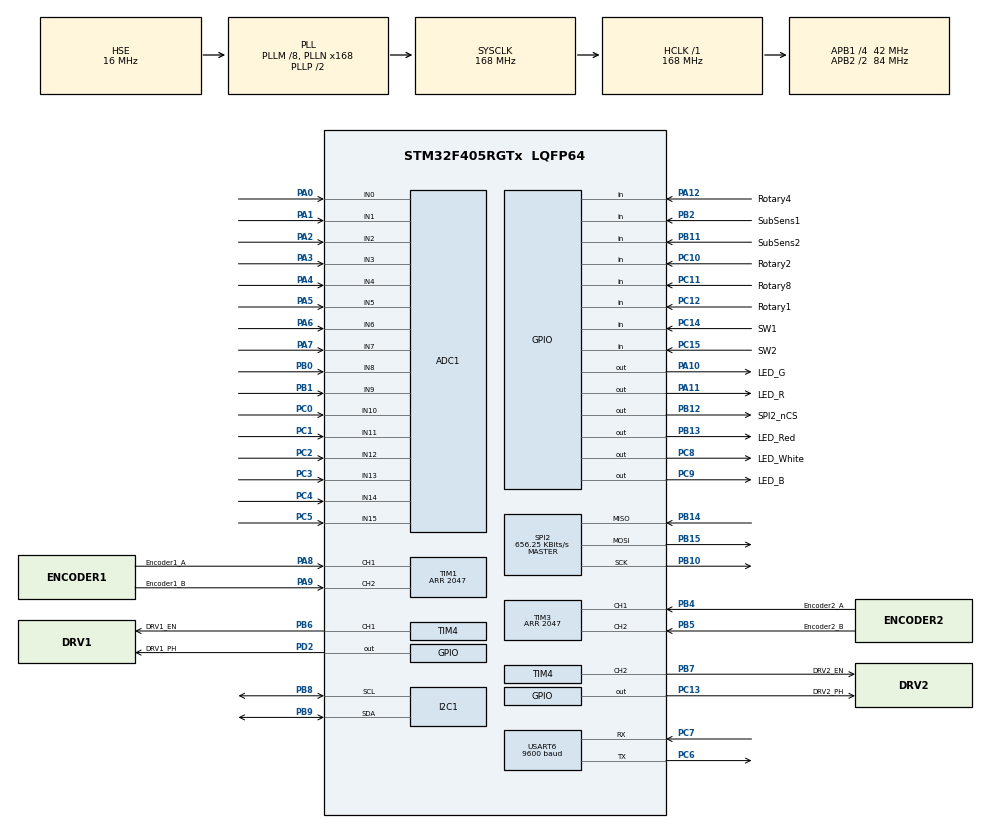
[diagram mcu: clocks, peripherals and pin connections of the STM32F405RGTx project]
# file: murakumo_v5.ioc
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ADC1.Channel-0\#ChannelRegularConversion=ADC_CHANNEL_9
ADC1.Channel-1\#ChannelRegularConversion=ADC_CHANNEL_10
ADC1.Channel-10\#ChannelRegularConversion=ADC_CHANNEL_6
ADC1.Channel-11\#ChannelRegularConversion=ADC_CHANNEL_1
ADC1.Channel-12\#ChannelRegularConversion=ADC_CHANNEL_5
ADC1.Channel-13\#ChannelRegularConversion=ADC_CHANNEL_2
ADC1.Channel-14\#ChannelRegularConversion=ADC_CHANNEL_4
ADC1.Channel-15\#ChannelRegularConversion=ADC_CHANNEL_3
ADC1.Channel-2\#ChannelRegularConversion=ADC_CHANNEL_8
ADC1.Channel-3\#ChannelRegularConversion=ADC_CHANNEL_11
ADC1.Channel-4\#ChannelRegularConversion=ADC_CHANNEL_15
ADC1.Channel-5\#ChannelRegularConversion=ADC_CHANNEL_12
ADC1.Channel-6\#ChannelRegularConversion=ADC_CHANNEL_14
ADC1.Channel-7\#ChannelRegularConversion=ADC_CHANNEL_13
ADC1.Channel-8\#ChannelRegularConversion=ADC_CHANNEL_7
ADC1.Channel-9\#ChannelRegularConversion=ADC_CHANNEL_0
ADC1.ContinuousConvMode=ENABLE
ADC1.DMAContinuousRequests=ENABLE
ADC1.InjNumberOfConversion=0
ADC1.NbrOfConversion=16
ADC1.NbrOfConversionFlag=1
ADC1.Rank-0\#ChannelRegularConversion=1
ADC1.Rank-1\#ChannelRegularConversion=2
ADC1.Rank-10\#ChannelRegularConversion=11
ADC1.Rank-11\#ChannelRegularConversion=12
ADC1.Rank-12\#ChannelRegularConversion=13
ADC1.Rank-13\#ChannelRegularConversion=14
ADC1.Rank-14\#ChannelRegularConversion=15
ADC1.Rank-15\#ChannelRegularConversion=16
ADC1.Rank-2\#ChannelRegularConversion=3
ADC1.Rank-3\#ChannelRegularConversion=4
ADC1.Rank-4\#ChannelRegularConversion=5
ADC1.Rank-5\#ChannelRegularConversion=6
ADC1.Rank-6\#ChannelRegularConversion=7
ADC1.Rank-7\#ChannelRegularConversion=8
ADC1.Rank-8\#ChannelRegularConversion=9
ADC1.Rank-9\#ChannelRegularConversion=10
ADC1.SamplingTime-0\#ChannelRegularConversion=ADC_SAMPLETIME_56CYCLES
ADC1.SamplingTime-1\#ChannelRegularConversion=ADC_SAMPLETIME_56CYCLES
ADC1.SamplingTime-10\#ChannelRegularConversion=ADC_SAMPLETIME_56CYCLES
ADC1.SamplingTime-11\#ChannelRegularConversion=ADC_SAMPLETIME_56CYCLES
ADC1.SamplingTime-12\#ChannelRegularConversion=ADC_SAMPLETIME_56CYCLES
ADC1.SamplingTime-13\#ChannelRegularConversion=ADC_SAMPLETIME_56CYCLES
ADC1.SamplingTime-14\#ChannelRegularConversion=ADC_SAMPLETIME_56CYCLES
ADC1.SamplingTime-15\#ChannelRegularConversion=ADC_SAMPLETIME_56CYCLES
ADC1.SamplingTime-2\#ChannelRegularConversion=ADC_SAMPLETIME_56CYCLES
ADC1.SamplingTime-3\#ChannelRegularConversion=ADC_SAMPLETIME_56CYCLES
ADC1.SamplingTime-4\#ChannelRegularConversion=ADC_SAMPLETIME_56CYCLES
ADC1.SamplingTime-5\#ChannelRegularConversion=ADC_SAMPLETIME_56CYCLES
ADC1.SamplingTime-6\#ChannelRegularConversion=ADC_SAMPLETIME_56CYCLES
ADC1.SamplingTime-7\#ChannelRegularConversion=ADC_SAMPLETIME_56CYCLES
ADC1.SamplingTime-8\#ChannelRegularConversion=ADC_SAMPLETIME_56CYCLES
ADC1.SamplingTime-9\#ChannelRegularConversion=ADC_SAMPLETIME_56CYCLES
ADC1.ScanConvMode=ENABLE
ADC1.master=1
Dma.ADC1.0.Direction=DMA_PERIPH_TO_MEMORY
Dma.ADC1.0.FIFOMode=DMA_FIFOMODE_DISABLE
Dma.ADC1.0.Instance=DMA2_Stream0
Dma.ADC1.0.MemDataAlignment=DMA_MDATAALIGN_HALFWORD
Dma.ADC1.0.MemInc=DMA_MINC_ENABLE
Dma.ADC1.0.Mode=DMA_CIRCULAR
Dma.ADC1.0.PeriphDataAlignment=DMA_PDATAALIGN_HALFWORD
Dma.ADC1.0.PeriphInc=DMA_PINC_DISABLE
Dma.ADC1.0.Priority=DMA_PRIORITY_LOW
Dma.Request0=ADC1
I2C1.NoStretchMode=I2C_NOSTRETCH_ENABLE
Mcu.Family=STM32F4
Mcu.Name=STM32F405RGTx
Mcu.Package=LQFP64
NVIC.DMA2_Stream0_IRQn=true\:0\:0\:true\:false\:true\:false\:true
NVIC.PriorityGroup=NVIC_PRIORITYGROUP_4
NVIC.TIM1_TRG_COM_TIM11_IRQn=true\:0\:0\:true\:false\:true\:true\:true
NVIC.TIM1_UP_TIM10_IRQn=true\:0\:0\:true\:false\:true\:true\:true
NVIC.TIM6_DAC_IRQn=true\:0\:0\:true\:false\:true\:true\:true
PA0-WKUP.Signal=ADCx_IN0
PA1.Signal=ADCx_IN1
PA10.GPIO_Label=LED_G
PA10.Signal=GPIO_Output
PA11.GPIO_Label=LED_R
PA11.Signal=GPIO_Output
PA12.GPIO_Label=Rotary4
PA12.Signal=GPIO_Input
PA13.Mode=Trace_Asynchronous_SW
PA13.Signal=SYS_JTMS-SWDIO
PA14.Mode=Trace_Asynchronous_SW
PA14.Signal=SYS_JTCK-SWCLK
PA15.Signal=S_TIM2_CH1_ETR
PA2.Signal=ADCx_IN2
PA3.Signal=ADCx_IN3
PA4.Signal=ADCx_IN4
PA5.Signal=ADCx_IN5
PA6.Signal=ADCx_IN6
PA7.Signal=ADCx_IN7
PA8.GPIO_Label=Encoder1_A
PA8.Signal=S_TIM1_CH1
PA9.GPIO_Label=Encoder1_B
PA9.Signal=S_TIM1_CH2
PB0.Signal=ADCx_IN8
PB1.Signal=ADCx_IN9
PB10.Mode=Full_Duplex_Master
PB10.Signal=SPI2_SCK
PB11.GPIO_Label=SubSens2
PB11.Signal=GPIO_Input
PB12.GPIO_Label=SPI2_nCS
PB12.Signal=GPIO_Output
PB13.GPIO_Label=LED_Red
PB13.Signal=GPIO_Output
PB14.Mode=Full_Duplex_Master
PB14.Signal=SPI2_MISO
PB15.Mode=Full_Duplex_Master
PB15.Signal=SPI2_MOSI
PB2.GPIO_Label=SubSens1
PB2.Signal=GPIO_Input
PB3.Mode=Trace_Asynchronous_SW
PB3.Signal=SYS_JTDO-SWO
PB4.GPIO_Label=Encoder2_A
PB4.Signal=S_TIM3_CH1
PB5.GPIO_Label=Encoder2_B
PB5.Signal=S_TIM3_CH2
PB6.GPIO_Label=DRV1_EN
PB6.Signal=S_TIM4_CH1
PB7.GPIO_Label=DRV2_EN
PB7.Signal=S_TIM4_CH2
PB8.Mode=I2C
PB8.Signal=I2C1_SCL
PB9.Mode=I2C
PB9.Signal=I2C1_SDA
PC0.Signal=ADCx_IN10
PC1.Signal=ADCx_IN11
PC10.GPIO_Label=Rotary2
PC10.Signal=GPIO_Input
PC11.GPIO_Label=Rotary8
PC11.Signal=GPIO_Input
PC12.GPIO_Label=Rotary1
PC12.Signal=GPIO_Input
PC13-ANTI_TAMP.GPIO_Label=DRV2_PH
PC13-ANTI_TAMP.Signal=GPIO_Output
PC14-OSC32_IN.GPIO_Label=SW1
PC14-OSC32_IN.Signal=GPIO_Input
PC15-OSC32_OUT.GPIO_Label=SW2
PC15-OSC32_OUT.Signal=GPIO_Input
PC2.Signal=ADCx_IN12
PC3.Signal=ADCx_IN13
PC4.Signal=ADCx_IN14
PC5.Signal=ADCx_IN15
PC6.Mode=Asynchronous
PC6.Signal=USART6_TX
PC7.Mode=Asynchronous
PC7.Signal=USART6_RX
PC8.GPIO_Label=LED_White
PC8.Signal=GPIO_Output
PC9.GPIO_Label=LED_B
PC9.Signal=GPIO_Output
PD2.GPIO_Label=DRV1_PH
PD2.Signal=GPIO_Output
PH0-OSC_IN.Mode=HSE-External-Clock-Source
PH0-OSC_IN.Signal=RCC_OSC_IN
PH1-OSC_OUT.Mode=HSE-External-Clock-Source
PH1-OSC_OUT.Signal=RCC_OSC_OUT
ProjectManager.HeapSize=0x200
ProjectManager.StackSize=0x400
ProjectManager.TargetToolchain=STM32CubeIDE
RCC.48MHZClocksFreq_Value=84000000
RCC.AHBFreq_Value=168000000
RCC.APB1CLKDivider=RCC_HCLK_DIV4
RCC.APB1Freq_Value=42000000
RCC.APB1TimFreq_Value=84000000
RCC.APB2CLKDivider=RCC_HCLK_DIV2
RCC.APB2Freq_Value=84000000
RCC.APB2TimFreq_Value=168000000
RCC.CortexFreq_Value=168000000
RCC.HCLKFreq_Value=168000000
RCC.HSE_VALUE=16000000
RCC.HSI_VALUE=16000000
RCC.LSE_VALUE=32768
RCC.PLLM=8
RCC.PLLN=168
RCC.PLLSourceVirtual=RCC_PLLSOURCE_HSE
RCC.SYSCLKFreq_VALUE=168000000
RCC.SYSCLKSource=RCC_SYSCLKSOURCE_PLLCLK
RCC.VCOOutputFreq_Value=336000000
SH.ADCx_IN0.0=ADC1_IN0,IN0
SH.ADCx_IN1.0=ADC1_IN1,IN1
SH.ADCx_IN10.0=ADC1_IN10,IN10
SH.ADCx_IN11.0=ADC1_IN11,IN11
SH.ADCx_IN12.0=ADC1_IN12,IN12
SH.ADCx_IN13.0=ADC1_IN13,IN13
SH.ADCx_IN14.0=ADC1_IN14,IN14
SH.ADCx_IN15.0=ADC1_IN15,IN15
SH.ADCx_IN2.0=ADC1_IN2,IN2
SH.ADCx_IN3.0=ADC1_IN3,IN3
SH.ADCx_IN4.0=ADC1_IN4,IN4
SH.ADCx_IN5.0=ADC1_IN5,IN5
SH.ADCx_IN6.0=ADC1_IN6,IN6
SH.ADCx_IN7.0=ADC1_IN7,IN7
SH.ADCx_IN8.0=ADC1_IN8,IN8
SH.ADCx_IN9.0=ADC1_IN9,IN9
SH.S_TIM1_CH1.0=TIM1_CH1,Encoder_Interface
SH.S_TIM1_CH2.0=TIM1_CH2,Encoder_Interface
SH.S_TIM2_CH1_ETR.0=TIM2_CH1
SH.S_TIM3_CH1.0=TIM3_CH1,Encoder_Interface
SH.S_TIM3_CH2.0=TIM3_CH2,Encoder_Interface
SH.S_TIM4_CH1.0=TIM4_CH1,PWM Generation1 CH1
SH.S_TIM4_CH2.0=TIM4_CH2,PWM Generation2 CH2
SPI2.BaudRatePrescaler=SPI_BAUDRATEPRESCALER_64
SPI2.CLKPhase=SPI_PHASE_2EDGE
SPI2.CLKPolarity=SPI_POLARITY_HIGH
SPI2.CalculateBaudRate=656.25 KBits/s
SPI2.DataSize=SPI_DATASIZE_8BIT
SPI2.Direction=SPI_DIRECTION_2LINES
SPI2.Mode=SPI_MODE_MASTER
SPI2.VirtualType=VM_MASTER
TIM1.EncoderMode=TIM_ENCODERMODE_TI12
TIM1.Period=2047
TIM10.Period=33599
TIM10.Prescaler=4
TIM11.Period=33599
TIM11.Prescaler=4
TIM14.Period=33599
TIM14.Prescaler=4
TIM3.EncoderMode=TIM_ENCODERMODE_TI12
TIM3.Period=2047
TIM4.Channel-PWM\ Generation1\ CH1=TIM_CHANNEL_1
TIM4.Channel-PWM\ Generation2\ CH2=TIM_CHANNEL_2
TIM4.Period=999
TIM4.Prescaler=2
TIM6.Period=16799
TIM6.Prescaler=4
USART6.BaudRate=9600
USART6.VirtualMode=VM_ASYNC
VP_TIM10_VS_ClockSourceINT.Mode=Enable_Timer
VP_TIM11_VS_ClockSourceINT.Mode=Enable_Timer
VP_TIM14_VS_ClockSourceINT.Mode=Enable_Timer
VP_TIM6_VS_ClockSourceINT.Mode=Enable_Timer
board=custom

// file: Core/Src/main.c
/* USER CODE BEGIN Header */
/**
 ******************************************************************************
 * @file           : main.c
 * @brief          : Main program body
 ******************************************************************************
 * @attention
 *
 * <h2><center>&copy; Copyright (c) 2022 STMicroelectronics.
 * All rights reserved.</center></h2>
 *
 * This software component is licensed by ST under BSD 3-Clause license,
 * the "License"; You may not use this file except in compliance with the
 * License. You may obtain a copy of the License at:
 *                        opensource.org/licenses/BSD-3-Clause
 *
 *
 * 8b    d8 88   88 88""Yb    db    88  dP 88   88 8b    d8  dP"Yb             Yb    dP 888888 *
 * 88b  d88 88   88 88__dP   dPYb   88odP  88   88 88b  d88 dP   Yb             Yb  dP  88oo." *
 * 88YbdP88 Y8   8P 88"Yb   dP__Yb  88"Yb  Y8   8P 88YbdP88 Yb   dP              YbdP      `8b *
 * 88 YY 88 `YbodP' 88  Yb dP""""Yb 88  Yb `YbodP' 88 YY 88  YbodP  oooooooooo    YP    8888P' *
 *
 ********************************************dsd**********************************
 */
/* USER CODE END Header */
#include "main.h"

ADC_HandleTypeDef hadc1;
DMA_HandleTypeDef hdma_adc1;

I2C_HandleTypeDef hi2c1;

SPI_HandleTypeDef hspi2;

TIM_HandleTypeDef htim1;
TIM_HandleTypeDef htim3;
TIM_HandleTypeDef htim4;
TIM_HandleTypeDef htim6;
TIM_HandleTypeDef htim10;
TIM_HandleTypeDef htim11;
TIM_HandleTypeDef htim14;

UART_HandleTypeDef huart6;

void SystemClock_Config(void);
static void MX_GPIO_Init(void);
static void MX_DMA_Init(void);
static void MX_ADC1_Init(void);
static void MX_USART6_UART_Init(void);
static void MX_TIM6_Init(void);
static void MX_TIM4_Init(void);
static void MX_TIM1_Init(void);
static void MX_TIM3_Init(void);
static void MX_TIM10_Init(void);
static void MX_TIM11_Init(void);
static void MX_SPI2_Init(void);
static void MX_I2C1_Init(void);
static void MX_TIM14_Init(void);
/* USER CODE BEGIN PFP */

void HAL_TIM_PeriodElapsedCallback(TIM_HandleTypeDef *htim)
{
	if(htim->Instance == TIM6)
  {
    tim6_main();
	}

	if(htim->Instance == TIM10)	// TIM10 // 1ms
	{
    tim10_main();
	}

	if (htim->Instance == TIM11)	// TIM11 // 1ms
	{
    tim11_main();
	}
}

/* USER CODE END PFP */

int main(void)
{

  /* MCU Configuration--------------------------------------------------------*/

  /* Reset of all peripherals, Initializes the Flash interface and the Systick. */
  HAL_Init();

  /* Configure the system clock */
  SystemClock_Config();

  /* Initialize all configured peripherals */
  MX_GPIO_Init();
  MX_DMA_Init();
  MX_ADC1_Init();
  MX_USART6_UART_Init();
  MX_TIM6_Init();
  MX_TIM4_Init();
  MX_TIM1_Init();
  MX_TIM3_Init();
  MX_TIM10_Init();
  MX_TIM11_Init();
  MX_SPI2_Init();
  MX_I2C1_Init();
  MX_TIM14_Init();
  /* USER CODE BEGIN 2 */
	printf(ESC_DEF);

	printf("\r\n\r\n\r\nStarting Program...\r\n\r\n");

  main_init();

  /* USER CODE END 2 */

  /* Infinite loop */
  /* USER CODE BEGIN WHILE */
#if !D_LED
	while (1)
	{
    print_while();

		if(switch_read_enter())
		{
			switch(rotary_read())
      {
        case 0x00:
          if(rotary_read_playmode() == calibration)
          {
            /* min = 4096, max = 0, sensgettime = 0, HAL_ADC_Start_DMA() */
            analog_calibration_start();

            while(switch_read_enter())
            {
              #if ANALOG_CALIBRATION_IN_WHILE
              analog_get_and_sort();
              #endif
              // d_print();
              HAL_Delay(100);
            }

            /* analogmode = all, */
            analog_calibration_stop();
          }
          else    // if(!(rotary_read_playmode()== calibration))
          {
            running_start();

            while(switch_read_enter())
            {
              d_print();
              HAL_Delay(250);
            }

            running_stop();
          }
          break;	// case 0x00:
        case 0x01:	// 1
          running_start();

          while (switch_read_enter())
          {
            d_print();
            HAL_Delay(500);
          }

          running_stop();
          break;
        case 0x02:	// 2
          running_start();

          while(switch_read_enter())
          {
            d_print();
            HAL_Delay(250);
          }

          running_stop();
          break;
        case 0x03:	// 3
          running_start();

          while(switch_read_enter())
          {
            d_print();
            HAL_Delay(250);
          }

          running_stop();
          break;
        case 0x04:	// 4
          running_start();

          while(switch_read_enter())
          {
            d_print();
            HAL_Delay(250);
          }

          running_stop();
          break;
        case 0x05:	// 5
          running_start();

          while(switch_read_enter())
          {
            d_print();
            HAL_Delay(250);
          }

          running_stop();
          break;
        case 0x06:	// 6
          running_start();

          while(switch_read_enter())
          {
            d_print();
            HAL_Delay(250);
          }

          running_stop();
          break;
        case 0x07:	// 7
          running_start();

          while(switch_read_enter())
          {
            d_print();
            HAL_Delay(250);
          }

          running_stop();
          break;
        case 0x08:	// 8
          running_start();

          while(switch_read_enter())
          {
            d_print();
            HAL_Delay(250);
          }

          running_stop();
          break;
        case 0x09:	// 9
          running_start();

          while(switch_read_enter())
          {
            d_print();
            HAL_Delay(250);
          }

          running_stop();
          break;
        case 0x0A:	// A
          running_start();

          while(switch_read_enter())
          {
            d_print();
            HAL_Delay(250);
          }

          running_stop();
          break;
        case 0x0B:	// B
          running_start();

          while(switch_read_enter())
          {
            d_print();
            HAL_Delay(250);
          }

          running_stop();
          break;
        case 0x0C:	// C
          running_start();

          while(switch_read_enter())
          {
            d_print();
            HAL_Delay(250);
          }

          running_stop();
          break;
        case 0x0D:	// D
          running_start();

          while(switch_read_enter())
          {
            d_print();
            HAL_Delay(250);
          }

          running_stop();
          break;
        case 0x0E:	// E
          running_start();

          while(switch_read_enter())
          {
            d_print();
            HAL_Delay(250);
          }

          running_stop();
          break;
        case 0x0F:
          if(rotary_read_playmode()== flash_print)
          {
          }
          else    // if(!(rotary_read_playmode()== flash_print))
          {
            running_start();

            while(switch_read_enter())
            {
              d_print();
              HAL_Delay(250);
            }

            running_stop();
          }
          break;
        default:
          break;
      } // switch(rotary_value)
		}	// if(switch_read_enter())
    HAL_Delay(500);
	}	// while(1)
#endif	// !D_LED
    /* USER CODE END WHILE */

}

void SystemClock_Config(void)
{
  RCC_OscInitTypeDef RCC_OscInitStruct = {0};
  RCC_ClkInitTypeDef RCC_ClkInitStruct = {0};

  /** Configure the main internal regulator output voltage
  */
  __HAL_RCC_PWR_CLK_ENABLE();
  __HAL_PWR_VOLTAGESCALING_CONFIG(PWR_REGULATOR_VOLTAGE_SCALE1);
  /** Initializes the RCC Oscillators according to the specified parameters
  * in the RCC_OscInitTypeDef structure.
  */
  RCC_OscInitStruct.OscillatorType = RCC_OSCILLATORTYPE_HSE;
  RCC_OscInitStruct.HSEState = RCC_HSE_BYPASS;
  RCC_OscInitStruct.PLL.PLLState = RCC_PLL_ON;
  RCC_OscInitStruct.PLL.PLLSource = RCC_PLLSOURCE_HSE;
  RCC_OscInitStruct.PLL.PLLM = 8;
  RCC_OscInitStruct.PLL.PLLN = 168;
  RCC_OscInitStruct.PLL.PLLP = RCC_PLLP_DIV2;
  RCC_OscInitStruct.PLL.PLLQ = 4;
  if (HAL_RCC_OscConfig(&RCC_OscInitStruct) != HAL_OK)
  {
    Error_Handler();
  }
  /** Initializes the CPU, AHB and APB buses clocks
  */
  RCC_ClkInitStruct.ClockType = RCC_CLOCKTYPE_HCLK|RCC_CLOCKTYPE_SYSCLK
                              |RCC_CLOCKTYPE_PCLK1|RCC_CLOCKTYPE_PCLK2;
  RCC_ClkInitStruct.SYSCLKSource = RCC_SYSCLKSOURCE_PLLCLK;
  RCC_ClkInitStruct.AHBCLKDivider = RCC_SYSCLK_DIV1;
  RCC_ClkInitStruct.APB1CLKDivider = RCC_HCLK_DIV4;
  RCC_ClkInitStruct.APB2CLKDivider = RCC_HCLK_DIV2;

  if (HAL_RCC_ClockConfig(&RCC_ClkInitStruct, FLASH_LATENCY_5) != HAL_OK)
  {
    Error_Handler();
  }
}

static void MX_ADC1_Init(void)
{

  ADC_ChannelConfTypeDef sConfig = {0};

  /** Configure the global features of the ADC (Clock, Resolution, Data Alignment and number of conversion)
  */
  hadc1.Instance = ADC1;
  hadc1.Init.ClockPrescaler = ADC_CLOCK_SYNC_PCLK_DIV4;
  hadc1.Init.Resolution = ADC_RESOLUTION_12B;
  hadc1.Init.ScanConvMode = ENABLE;
  hadc1.Init.ContinuousConvMode = ENABLE;
  hadc1.Init.DiscontinuousConvMode = DISABLE;
  hadc1.Init.ExternalTrigConvEdge = ADC_EXTERNALTRIGCONVEDGE_NONE;
  hadc1.Init.ExternalTrigConv = ADC_SOFTWARE_START;
  hadc1.Init.DataAlign = ADC_DATAALIGN_RIGHT;
  hadc1.Init.NbrOfConversion = 16;
  hadc1.Init.DMAContinuousRequests = ENABLE;
  hadc1.Init.EOCSelection = ADC_EOC_SINGLE_CONV;
  if (HAL_ADC_Init(&hadc1) != HAL_OK)
  {
    Error_Handler();
  }
  /** Configure for the selected ADC regular channel its corresponding rank in the sequencer and its sample time.
  */
  sConfig.Channel = ADC_CHANNEL_9;
  sConfig.Rank = 1;
  sConfig.SamplingTime = ADC_SAMPLETIME_56CYCLES;
  if (HAL_ADC_ConfigChannel(&hadc1, &sConfig) != HAL_OK)
  {
    Error_Handler();
  }
  /** Configure for the selected ADC regular channel its corresponding rank in the sequencer and its sample time.
  */
  sConfig.Channel = ADC_CHANNEL_10;
  sConfig.Rank = 2;
  if (HAL_ADC_ConfigChannel(&hadc1, &sConfig) != HAL_OK)
  {
    Error_Handler();
  }
  /** Configure for the selected ADC regular channel its corresponding rank in the sequencer and its sample time.
  */
  sConfig.Channel = ADC_CHANNEL_8;
  sConfig.Rank = 3;
  if (HAL_ADC_ConfigChannel(&hadc1, &sConfig) != HAL_OK)
  {
    Error_Handler();
  }
  /** Configure for the selected ADC regular channel its corresponding rank in the sequencer and its sample time.
  */
  sConfig.Channel = ADC_CHANNEL_11;
  sConfig.Rank = 4;
  if (HAL_ADC_ConfigChannel(&hadc1, &sConfig) != HAL_OK)
  {
    Error_Handler();
  }
  /** Configure for the selected ADC regular channel its corresponding rank in the sequencer and its sample time.
  */
  sConfig.Channel = ADC_CHANNEL_15;
  sConfig.Rank = 5;
  if (HAL_ADC_ConfigChannel(&hadc1, &sConfig) != HAL_OK)
  {
    Error_Handler();
  }
  /** Configure for the selected ADC regular channel its corresponding rank in the sequencer and its sample time.
  */
  sConfig.Channel = ADC_CHANNEL_12;
  sConfig.Rank = 6;
  if (HAL_ADC_ConfigChannel(&hadc1, &sConfig) != HAL_OK)
  {
    Error_Handler();
  }
  /** Configure for the selected ADC regular channel its corresponding rank in the sequencer and its sample time.
  */
  sConfig.Channel = ADC_CHANNEL_14;
  sConfig.Rank = 7;
  if (HAL_ADC_ConfigChannel(&hadc1, &sConfig) != HAL_OK)
  {
    Error_Handler();
  }
  /** Configure for the selected ADC regular channel its corresponding rank in the sequencer and its sample time.
  */
  sConfig.Channel = ADC_CHANNEL_13;
  sConfig.Rank = 8;
  if (HAL_ADC_ConfigChannel(&hadc1, &sConfig) != HAL_OK)
  {
    Error_Handler();
  }
  /** Configure for the selected ADC regular channel its corresponding rank in the sequencer and its sample time.
  */
  sConfig.Channel = ADC_CHANNEL_7;
  sConfig.Rank = 9;
  if (HAL_ADC_ConfigChannel(&hadc1, &sConfig) != HAL_OK)
  {
    Error_Handler();
  }
  /** Configure for the selected ADC regular channel its corresponding rank in the sequencer and its sample time.
  */
  sConfig.Channel = ADC_CHANNEL_0;
  sConfig.Rank = 10;
  if (HAL_ADC_ConfigChannel(&hadc1, &sConfig) != HAL_OK)
  {
    Error_Handler();
  }
  /** Configure for the selected ADC regular channel its corresponding rank in the sequencer and its sample time.
  */
  sConfig.Channel = ADC_CHANNEL_6;
  sConfig.Rank = 11;
  if (HAL_ADC_ConfigChannel(&hadc1, &sConfig) != HAL_OK)
  {
    Error_Handler();
  }
  /** Configure for the selected ADC regular channel its corresponding rank in the sequencer and its sample time.
  */
  sConfig.Channel = ADC_CHANNEL_1;
  sConfig.Rank = 12;
  if (HAL_ADC_ConfigChannel(&hadc1, &sConfig) != HAL_OK)
  {
    Error_Handler();
  }
  /** Configure for the selected ADC regular channel its corresponding rank in the sequencer and its sample time.
  */
  sConfig.Channel = ADC_CHANNEL_5;
  sConfig.Rank = 13;
  if (HAL_ADC_ConfigChannel(&hadc1, &sConfig) != HAL_OK)
  {
    Error_Handler();
  }
  /** Configure for the selected ADC regular channel its corresponding rank in the sequencer and its sample time.
  */
  sConfig.Channel = ADC_CHANNEL_2;
  sConfig.Rank = 14;
  if (HAL_ADC_ConfigChannel(&hadc1, &sConfig) != HAL_OK)
  {
    Error_Handler();
  }
  /** Configure for the selected ADC regular channel its corresponding rank in the sequencer and its sample time.
  */
  sConfig.Channel = ADC_CHANNEL_4;
  sConfig.Rank = 15;
  if (HAL_ADC_ConfigChannel(&hadc1, &sConfig) != HAL_OK)
  {
    Error_Handler();
  }
  /** Configure for the selected ADC regular channel its corresponding rank in the sequencer and its sample time.
  */
  sConfig.Channel = ADC_CHANNEL_3;
  sConfig.Rank = 16;
  if (HAL_ADC_ConfigChannel(&hadc1, &sConfig) != HAL_OK)
  {
    Error_Handler();
  }

}

static void MX_I2C1_Init(void)
{

  hi2c1.Instance = I2C1;
  hi2c1.Init.ClockSpeed = 100000;
  hi2c1.Init.DutyCycle = I2C_DUTYCYCLE_2;
  hi2c1.Init.OwnAddress1 = 0;
  hi2c1.Init.AddressingMode = I2C_ADDRESSINGMODE_7BIT;
  hi2c1.Init.DualAddressMode = I2C_DUALADDRESS_DISABLE;
  hi2c1.Init.OwnAddress2 = 0;
  hi2c1.Init.GeneralCallMode = I2C_GENERALCALL_DISABLE;
  hi2c1.Init.NoStretchMode = I2C_NOSTRETCH_ENABLE;
  if (HAL_I2C_Init(&hi2c1) != HAL_OK)
  {
    Error_Handler();
  }

}

static void MX_SPI2_Init(void)
{

  /* SPI2 parameter configuration*/
  hspi2.Instance = SPI2;
  hspi2.Init.Mode = SPI_MODE_MASTER;
  hspi2.Init.Direction = SPI_DIRECTION_2LINES;
  hspi2.Init.DataSize = SPI_DATASIZE_8BIT;
  hspi2.Init.CLKPolarity = SPI_POLARITY_HIGH;
  hspi2.Init.CLKPhase = SPI_PHASE_2EDGE;
  hspi2.Init.NSS = SPI_NSS_SOFT;
  hspi2.Init.BaudRatePrescaler = SPI_BAUDRATEPRESCALER_64;
  hspi2.Init.FirstBit = SPI_FIRSTBIT_MSB;
  hspi2.Init.TIMode = SPI_TIMODE_DISABLE;
  hspi2.Init.CRCCalculation = SPI_CRCCALCULATION_DISABLE;
  hspi2.Init.CRCPolynomial = 10;
  if (HAL_SPI_Init(&hspi2) != HAL_OK)
  {
    Error_Handler();
  }

}

static void MX_TIM1_Init(void)
{

  TIM_Encoder_InitTypeDef sConfig = {0};
  TIM_MasterConfigTypeDef sMasterConfig = {0};

  htim1.Instance = TIM1;
  htim1.Init.Prescaler = 0;
  htim1.Init.CounterMode = TIM_COUNTERMODE_UP;
  htim1.Init.Period = 2047;
  htim1.Init.ClockDivision = TIM_CLOCKDIVISION_DIV1;
  htim1.Init.RepetitionCounter = 0;
  htim1.Init.AutoReloadPreload = TIM_AUTORELOAD_PRELOAD_DISABLE;
  sConfig.EncoderMode = TIM_ENCODERMODE_TI12;
  sConfig.IC1Polarity = TIM_ICPOLARITY_RISING;
  sConfig.IC1Selection = TIM_ICSELECTION_DIRECTTI;
  sConfig.IC1Prescaler = TIM_ICPSC_DIV1;
  sConfig.IC1Filter = 0;
  sConfig.IC2Polarity = TIM_ICPOLARITY_RISING;
  sConfig.IC2Selection = TIM_ICSELECTION_DIRECTTI;
  sConfig.IC2Prescaler = TIM_ICPSC_DIV1;
  sConfig.IC2Filter = 0;
  if (HAL_TIM_Encoder_Init(&htim1, &sConfig) != HAL_OK)
  {
    Error_Handler();
  }
  sMasterConfig.MasterOutputTrigger = TIM_TRGO_RESET;
  sMasterConfig.MasterSlaveMode = TIM_MASTERSLAVEMODE_DISABLE;
  if (HAL_TIMEx_MasterConfigSynchronization(&htim1, &sMasterConfig) != HAL_OK)
  {
    Error_Handler();
  }

}

static void MX_TIM3_Init(void)
{

  TIM_Encoder_InitTypeDef sConfig = {0};
  TIM_MasterConfigTypeDef sMasterConfig = {0};

  htim3.Instance = TIM3;
  htim3.Init.Prescaler = 0;
  htim3.Init.CounterMode = TIM_COUNTERMODE_UP;
  htim3.Init.Period = 2047;
  htim3.Init.ClockDivision = TIM_CLOCKDIVISION_DIV1;
  htim3.Init.AutoReloadPreload = TIM_AUTORELOAD_PRELOAD_DISABLE;
  sConfig.EncoderMode = TIM_ENCODERMODE_TI12;
  sConfig.IC1Polarity = TIM_ICPOLARITY_RISING;
  sConfig.IC1Selection = TIM_ICSELECTION_DIRECTTI;
  sConfig.IC1Prescaler = TIM_ICPSC_DIV1;
  sConfig.IC1Filter = 0;
  sConfig.IC2Polarity = TIM_ICPOLARITY_RISING;
  sConfig.IC2Selection = TIM_ICSELECTION_DIRECTTI;
  sConfig.IC2Prescaler = TIM_ICPSC_DIV1;
  sConfig.IC2Filter = 0;
  if (HAL_TIM_Encoder_Init(&htim3, &sConfig) != HAL_OK)
  {
    Error_Handler();
  }
  sMasterConfig.MasterOutputTrigger = TIM_TRGO_RESET;
  sMasterConfig.MasterSlaveMode = TIM_MASTERSLAVEMODE_DISABLE;
  if (HAL_TIMEx_MasterConfigSynchronization(&htim3, &sMasterConfig) != HAL_OK)
  {
    Error_Handler();
  }

}

static void MX_TIM4_Init(void)
{

  TIM_MasterConfigTypeDef sMasterConfig = {0};
  TIM_OC_InitTypeDef sConfigOC = {0};

  htim4.Instance = TIM4;
  htim4.Init.Prescaler = 2;
  htim4.Init.CounterMode = TIM_COUNTERMODE_UP;
  htim4.Init.Period = 999;
  htim4.Init.ClockDivision = TIM_CLOCKDIVISION_DIV1;
  htim4.Init.AutoReloadPreload = TIM_AUTORELOAD_PRELOAD_DISABLE;
  if (HAL_TIM_PWM_Init(&htim4) != HAL_OK)
  {
    Error_Handler();
  }
  sMasterConfig.MasterOutputTrigger = TIM_TRGO_RESET;
  sMasterConfig.MasterSlaveMode = TIM_MASTERSLAVEMODE_DISABLE;
  if (HAL_TIMEx_MasterConfigSynchronization(&htim4, &sMasterConfig) != HAL_OK)
  {
    Error_Handler();
  }
  sConfigOC.OCMode = TIM_OCMODE_PWM1;
  sConfigOC.Pulse = 0;
  sConfigOC.OCPolarity = TIM_OCPOLARITY_HIGH;
  sConfigOC.OCFastMode = TIM_OCFAST_DISABLE;
  if (HAL_TIM_PWM_ConfigChannel(&htim4, &sConfigOC, TIM_CHANNEL_1) != HAL_OK)
  {
    Error_Handler();
  }
  if (HAL_TIM_PWM_ConfigChannel(&htim4, &sConfigOC, TIM_CHANNEL_2) != HAL_OK)
  {
    Error_Handler();
  }
  HAL_TIM_MspPostInit(&htim4);

}

static void MX_TIM6_Init(void)
{

  TIM_MasterConfigTypeDef sMasterConfig = {0};

  htim6.Instance = TIM6;
  htim6.Init.Prescaler = 4;
  htim6.Init.CounterMode = TIM_COUNTERMODE_UP;
  htim6.Init.Period = 16799;
  htim6.Init.AutoReloadPreload = TIM_AUTORELOAD_PRELOAD_DISABLE;
  if (HAL_TIM_Base_Init(&htim6) != HAL_OK)
  {
    Error_Handler();
  }
  sMasterConfig.MasterOutputTrigger = TIM_TRGO_RESET;
  sMasterConfig.MasterSlaveMode = TIM_MASTERSLAVEMODE_DISABLE;
  if (HAL_TIMEx_MasterConfigSynchronization(&htim6, &sMasterConfig) != HAL_OK)
  {
    Error_Handler();
  }

}

static void MX_TIM10_Init(void)
{

  htim10.Instance = TIM10;
  htim10.Init.Prescaler = 4;
  htim10.Init.CounterMode = TIM_COUNTERMODE_UP;
  htim10.Init.Period = 33599;
  htim10.Init.ClockDivision = TIM_CLOCKDIVISION_DIV1;
  htim10.Init.AutoReloadPreload = TIM_AUTORELOAD_PRELOAD_DISABLE;
  if (HAL_TIM_Base_Init(&htim10) != HAL_OK)
  {
    Error_Handler();
  }

}

static void MX_TIM11_Init(void)
{

  htim11.Instance = TIM11;
  htim11.Init.Prescaler = 4;
  htim11.Init.CounterMode = TIM_COUNTERMODE_UP;
  htim11.Init.Period = 33599;
  htim11.Init.ClockDivision = TIM_CLOCKDIVISION_DIV1;
  htim11.Init.AutoReloadPreload = TIM_AUTORELOAD_PRELOAD_DISABLE;
  if (HAL_TIM_Base_Init(&htim11) != HAL_OK)
  {
    Error_Handler();
  }

}

static void MX_TIM14_Init(void)
{

  htim14.Instance = TIM14;
  htim14.Init.Prescaler = 4;
  htim14.Init.CounterMode = TIM_COUNTERMODE_UP;
  htim14.Init.Period = 33599;
  htim14.Init.ClockDivision = TIM_CLOCKDIVISION_DIV1;
  htim14.Init.AutoReloadPreload = TIM_AUTORELOAD_PRELOAD_DISABLE;
  if (HAL_TIM_Base_Init(&htim14) != HAL_OK)
  {
    Error_Handler();
  }

}

static void MX_USART6_UART_Init(void)
{

  huart6.Instance = USART6;
  huart6.Init.BaudRate = 9600;
  huart6.Init.WordLength = UART_WORDLENGTH_8B;
  huart6.Init.StopBits = UART_STOPBITS_1;
  huart6.Init.Parity = UART_PARITY_NONE;
  huart6.Init.Mode = UART_MODE_TX_RX;
  huart6.Init.HwFlowCtl = UART_HWCONTROL_NONE;
  huart6.Init.OverSampling = UART_OVERSAMPLING_16;
  if (HAL_UART_Init(&huart6) != HAL_OK)
  {
    Error_Handler();
  }

}

static void MX_DMA_Init(void)
{

  /* DMA controller clock enable */
  __HAL_RCC_DMA2_CLK_ENABLE();

  /* DMA interrupt init */
  /* DMA2_Stream0_IRQn interrupt configuration */
  HAL_NVIC_SetPriority(DMA2_Stream0_IRQn, 0, 0);
  HAL_NVIC_EnableIRQ(DMA2_Stream0_IRQn);

}

static void MX_GPIO_Init(void)
{
  GPIO_InitTypeDef GPIO_InitStruct = {0};

  /* GPIO Ports Clock Enable */
  __HAL_RCC_GPIOC_CLK_ENABLE();
  __HAL_RCC_GPIOH_CLK_ENABLE();
  __HAL_RCC_GPIOA_CLK_ENABLE();
  __HAL_RCC_GPIOB_CLK_ENABLE();
  __HAL_RCC_GPIOD_CLK_ENABLE();

  /*Configure GPIO pin Output Level */
  HAL_GPIO_WritePin(GPIOC, DRV2_PH_Pin|LED_White_Pin|LED_B_Pin, GPIO_PIN_RESET);

  /*Configure GPIO pin Output Level */
  HAL_GPIO_WritePin(GPIOB, SPI2_nCS_Pin|LED_Red_Pin, GPIO_PIN_RESET);

  /*Configure GPIO pin Output Level */
  HAL_GPIO_WritePin(GPIOA, LED_G_Pin|LED_R_Pin, GPIO_PIN_RESET);

  /*Configure GPIO pin Output Level */
  HAL_GPIO_WritePin(DRV1_PH_GPIO_Port, DRV1_PH_Pin, GPIO_PIN_RESET);

  /*Configure GPIO pins : DRV2_PH_Pin LED_White_Pin LED_B_Pin */
  GPIO_InitStruct.Pin = DRV2_PH_Pin|LED_White_Pin|LED_B_Pin;
  GPIO_InitStruct.Mode = GPIO_MODE_OUTPUT_PP;
  GPIO_InitStruct.Pull = GPIO_NOPULL;
  GPIO_InitStruct.Speed = GPIO_SPEED_FREQ_LOW;
  HAL_GPIO_Init(GPIOC, &GPIO_InitStruct);

  /*Configure GPIO pins : SW1_Pin SW2_Pin Rotary2_Pin Rotary8_Pin
                           Rotary1_Pin */
  GPIO_InitStruct.Pin = SW1_Pin|SW2_Pin|Rotary2_Pin|Rotary8_Pin
                          |Rotary1_Pin;
  GPIO_InitStruct.Mode = GPIO_MODE_INPUT;
  GPIO_InitStruct.Pull = GPIO_NOPULL;
  HAL_GPIO_Init(GPIOC, &GPIO_InitStruct);

  /*Configure GPIO pins : SubSens1_Pin SubSens2_Pin */
  GPIO_InitStruct.Pin = SubSens1_Pin|SubSens2_Pin;
  GPIO_InitStruct.Mode = GPIO_MODE_INPUT;
  GPIO_InitStruct.Pull = GPIO_NOPULL;
  HAL_GPIO_Init(GPIOB, &GPIO_InitStruct);

  /*Configure GPIO pins : SPI2_nCS_Pin LED_Red_Pin */
  GPIO_InitStruct.Pin = SPI2_nCS_Pin|LED_Red_Pin;
  GPIO_InitStruct.Mode = GPIO_MODE_OUTPUT_PP;
  GPIO_InitStruct.Pull = GPIO_NOPULL;
  GPIO_InitStruct.Speed = GPIO_SPEED_FREQ_LOW;
  HAL_GPIO_Init(GPIOB, &GPIO_InitStruct);

  /*Configure GPIO pins : LED_G_Pin LED_R_Pin */
  GPIO_InitStruct.Pin = LED_G_Pin|LED_R_Pin;
  GPIO_InitStruct.Mode = GPIO_MODE_OUTPUT_PP;
  GPIO_InitStruct.Pull = GPIO_NOPULL;
  GPIO_InitStruct.Speed = GPIO_SPEED_FREQ_LOW;
  HAL_GPIO_Init(GPIOA, &GPIO_InitStruct);

  /*Configure GPIO pin : Rotary4_Pin */
  GPIO_InitStruct.Pin = Rotary4_Pin;
  GPIO_InitStruct.Mode = GPIO_MODE_INPUT;
  GPIO_InitStruct.Pull = GPIO_NOPULL;
  HAL_GPIO_Init(Rotary4_GPIO_Port, &GPIO_InitStruct);

  /*Configure GPIO pin : PA15 */
  GPIO_InitStruct.Pin = GPIO_PIN_15;
  GPIO_InitStruct.Mode = GPIO_MODE_AF_PP;
  GPIO_InitStruct.Pull = GPIO_NOPULL;
  GPIO_InitStruct.Speed = GPIO_SPEED_FREQ_LOW;
  GPIO_InitStruct.Alternate = GPIO_AF1_TIM2;
  HAL_GPIO_Init(GPIOA, &GPIO_InitStruct);

  /*Configure GPIO pin : DRV1_PH_Pin */
  GPIO_InitStruct.Pin = DRV1_PH_Pin;
  GPIO_InitStruct.Mode = GPIO_MODE_OUTPUT_PP;
  GPIO_InitStruct.Pull = GPIO_NOPULL;
  GPIO_InitStruct.Speed = GPIO_SPEED_FREQ_LOW;
  HAL_GPIO_Init(DRV1_PH_GPIO_Port, &GPIO_InitStruct);

}

/* USER CODE BEGIN 4 */
void main_init()
{
  flash_init();
  /* switch_init, HAL_TIM_BASE_Start_IT(&htim11), rotary_init */
	tim11_init();
  /* encoder_init */
  tim10_init();
  /* motor_init, analog_init, velotrace_init(1), tracer_init(1) */
  tim6_init();
  /* print who am i */
  imu_initialize();
}

void running_start()
{
  /* encoder_set_middle, HAL_TIM_Encoder_Start, HAL_TIM_Base_Start_IT */
  #if D_PRINT
  printf("tim10_start()\r\n");
  #endif
  tim10_start();
  /* analogmin/max = FlashBuffer.analogmin/max, sensgettime = 0, HAL_ADC_Start_DMA, samplingtime = s_error = before_error = 0, if search ( p/i/d = [0], target = [0]), motor_enable = 0 */
  #if D_PRINT
  printf("tim6_start()\r\n");
  #endif
  tim6_start();
}

void running_stop()
{
  /* HAL_TIM_Base_Stop_IT, HAL_ADC_Stop_DMA, motor_enable = 0, HAL_TIM_PWM_Stop */
  tim6_stop();
  /* HAL_TIM_Base_Stop_IT, HAL_TIM_Encoder_Stop, sidesensor_stop */
  tim10_stop();
}

void imu_initialize()
{
#if USE_IMU
	printf("Starting SPI2 (IMU)\r\n");
	uint8_t wai, ret;
	ret = imu_init(&wai);
	printf("who_am_i = %d\r\n", wai);
	if (ret == 1) {
		printf("SPI INIT COLLECT!\r\n");
	} else {
		printf("SPI INIT FAILURE x_x \r\n");
	}
#endif

}

/* USER CODE END 4 */

void Error_Handler(void)
{
	__disable_irq();
	while (1) {
	}
}

/************************ (C) COPYRIGHT STMicroelectronics *****END OF FILE****/
